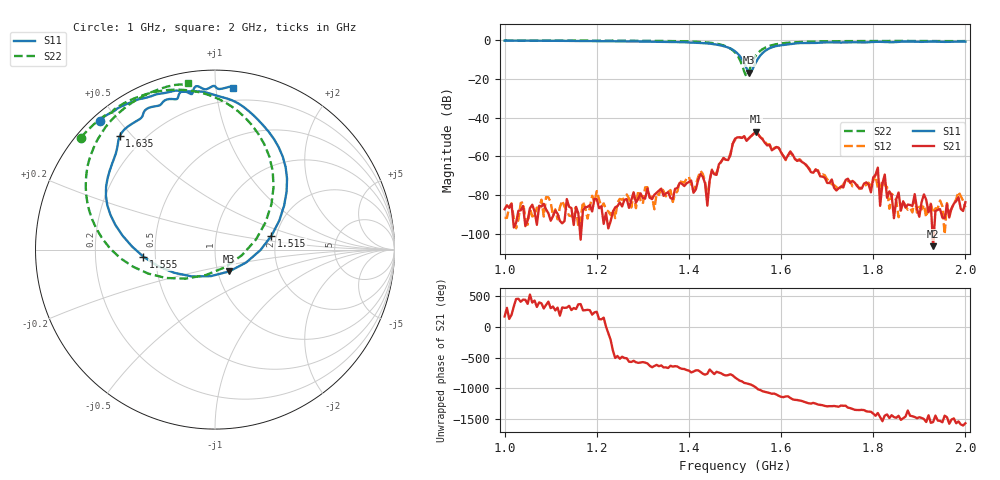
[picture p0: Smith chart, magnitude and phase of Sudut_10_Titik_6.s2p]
# Hz S RI R 50
! CMT, C1220, 16058040, 17.2.0/1
! Date: 14/08/2018 12:19:50
! Data: Format (Calibration Info)
! Freq  S11: Re/Im (F2)  S21: Re/Im (F2)  S12: Re/Im (F2)  S22: Re/Im (F2)
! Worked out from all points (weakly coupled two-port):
!   201 points, 1 GHz to 2 GHz, reference 50 ohm
!   highest |S21| = -47.26 dB at 1.545 GHz (marker M1); lowest = -106.2 dB at 1.93 GHz (marker M2)
!   lowest |S11| = -16.8 dB at 1.53 GHz (marker M3), VSWR 1.34, Z = 56.8 - j14.1 ohm
!   |S11| at or under -10 dB: 1.515 GHz to 1.549 GHz (33.52 MHz wide, 2.19 % of centre)
!   |S22| runs from -18.9 to -0.2 dB; largest |S21 - S12| = 0.00039
!   S11 on the Smith chart (normalised r, x): 1 GHz: 0.02, +0.45; 1.515 GHz: 1.88, +0.32; 1.555 GHz: 0.43, -0.04; 1.635 GHz: 0.12, +0.46; 2 GHz: 0.11, +1.11
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1e9  -0.6432 0.7162  -4.26e-05 9.78e-06  -9.17e-06 -2.45e-05  -0.7479 0.624
1.17e9  -0.4628 0.8232  -2.08e-06 -4.09e-05  -2.72e-05 -6.36e-05  -0.6113 0.7485
1.335e9  -0.1936 0.8835  2.54e-05 0.000129  1.46e-07 0.000102  -0.3962 0.8619
1.4e9  -0.0152 0.8652  0.000218 2.95e-05  0.000298 -5.14e-05  -0.2222 0.8909
1.41e9  0.0233 0.8539  0.000115 -1.65e-05  0.000124 -1.06e-05  -0.1833 0.89
1.425e9  0.0891 0.834  0.000343 -8.05e-05  0.000404 -0.000139  -0.1157 0.8821
1.44e9  0.1474 0.8031  3.95e-05 -3.68e-05  6.74e-05 -4.66e-05  -0.0369 0.8621
1.45e9  0.1892 0.7708  0.000433 -8.67e-05  0.000437 -0.000147  0.0248 0.8366
1.5e9  0.399 0.3231  -0.000711 -0.00276  -0.000675 -0.00259  0.3264 0.3491
1.515e9  0.3145 0.0769  -0.00292 -0.000662  -0.00294 -0.000686  0.2273 0.0547
1.53e9  0.0794 -0.1216  -0.00253 0.00146  -0.00254 0.00152  -0.0535 -0.1426
1.545e9  -0.2269 -0.1294  -0.000349 0.00432  -0.000415 0.00424  -0.3721 -0.1336
1.555e9  -0.3986 -0.0397  0.00195 0.00243  0.00192 0.00247  -0.5265 -0.0485
1.635e9  -0.5312 0.631  -0.000275 -0.000717  -0.000279 -0.000745  -0.6775 0.564
1.67e9  -0.4186 0.7274  -0.000351 -0.000147  -0.000405 -0.000159  -0.6177 0.6708
1.795e9  -0.2026 0.8601  6.24e-05 0.000102  -1.67e-05 0.000171  -0.4253 0.8408
1.81e9  -0.1837 0.8813  0.000407 0.000317  6.64e-05 0.000135  -0.4045 0.8532
1.815e9  -0.1737 0.8818  4.77e-05 -2.4e-05  4.31e-06 0.000134  -0.3975 0.8564
1.825e9  -0.1516 0.8754  0.000341 -1.91e-05  0.000165 -7.55e-05  -0.3843 0.8629
1.835e9  -0.1335 0.8667  9.25e-05 -8.62e-05  3.9e-05 -2.27e-05  -0.3712 0.8695
1.93e9  -0.00356 0.9117  -1.49e-06 -4.65e-06  1.46e-05 -3.14e-05  -0.239 0.9145
2e9  0.0993 0.9026  -4.13e-05 -5.18e-05  -4.23e-05 -2.41e-05  -0.1488 0.9277
